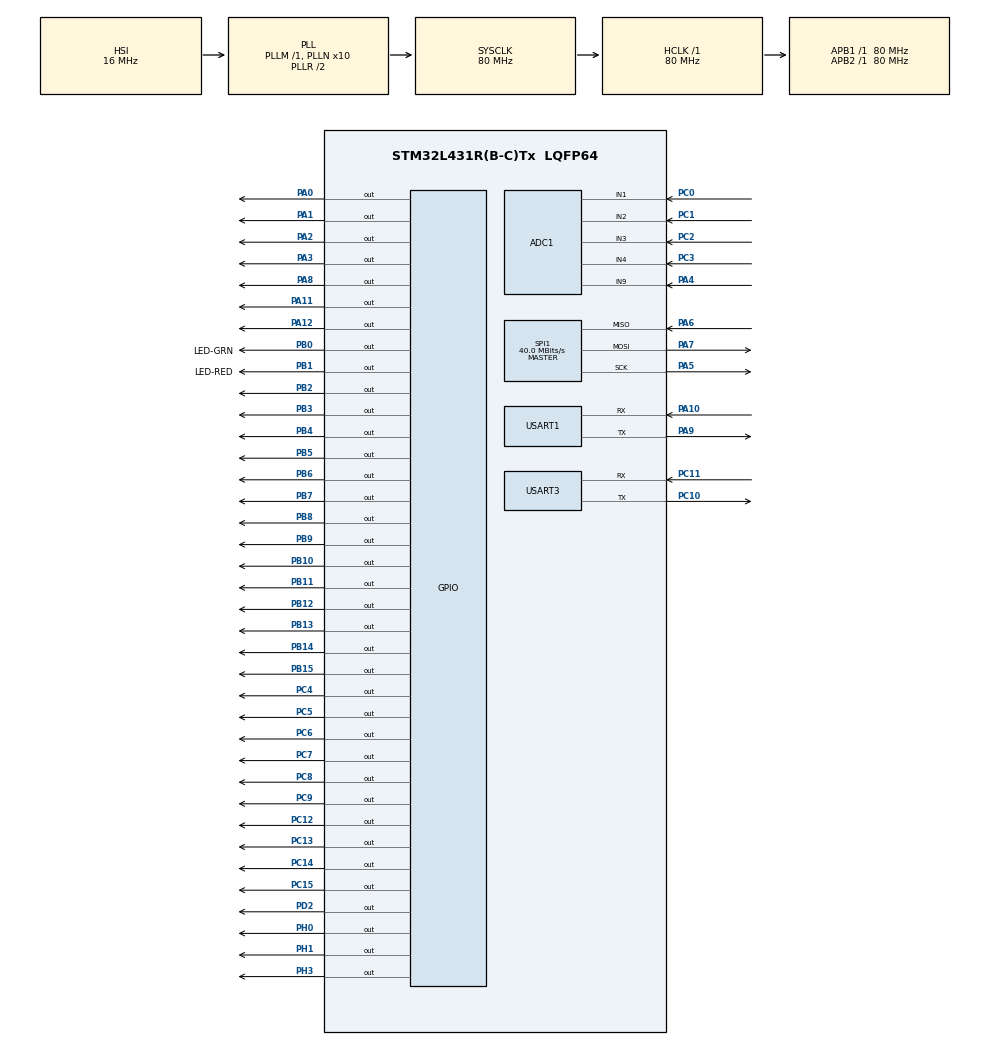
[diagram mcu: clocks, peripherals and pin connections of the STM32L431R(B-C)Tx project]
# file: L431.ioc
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ADC1.Channel-0\#ChannelRegularConversion=ADC_CHANNEL_1
ADC1.Channel-1\#ChannelRegularConversion=ADC_CHANNEL_2
ADC1.Channel-2\#ChannelRegularConversion=ADC_CHANNEL_3
ADC1.Channel-3\#ChannelRegularConversion=ADC_CHANNEL_4
ADC1.Channel-4\#ChannelRegularConversion=ADC_CHANNEL_9
ADC1.Channel-5\#ChannelRegularConversion=ADC_CHANNEL_VREFINT
ADC1.Channel-6\#ChannelRegularConversion=ADC_CHANNEL_TEMPSENSOR
ADC1.ContinuousConvMode=ENABLE
ADC1.DMAContinuousRequests=ENABLE
ADC1.NbrOfConversion=7
ADC1.NbrOfConversionFlag=1
ADC1.OffsetNumber-0\#ChannelRegularConversion=ADC_OFFSET_NONE
ADC1.OffsetNumber-1\#ChannelRegularConversion=ADC_OFFSET_NONE
ADC1.OffsetNumber-2\#ChannelRegularConversion=ADC_OFFSET_NONE
ADC1.OffsetNumber-3\#ChannelRegularConversion=ADC_OFFSET_NONE
ADC1.OffsetNumber-4\#ChannelRegularConversion=ADC_OFFSET_NONE
ADC1.OffsetNumber-5\#ChannelRegularConversion=ADC_OFFSET_NONE
ADC1.OffsetNumber-6\#ChannelRegularConversion=ADC_OFFSET_NONE
ADC1.Rank-0\#ChannelRegularConversion=1
ADC1.Rank-1\#ChannelRegularConversion=2
ADC1.Rank-2\#ChannelRegularConversion=3
ADC1.Rank-3\#ChannelRegularConversion=4
ADC1.Rank-4\#ChannelRegularConversion=5
ADC1.Rank-5\#ChannelRegularConversion=6
ADC1.Rank-6\#ChannelRegularConversion=7
ADC1.SamplingTime-0\#ChannelRegularConversion=ADC_SAMPLETIME_47CYCLES_5
ADC1.SamplingTime-1\#ChannelRegularConversion=ADC_SAMPLETIME_47CYCLES_5
ADC1.SamplingTime-2\#ChannelRegularConversion=ADC_SAMPLETIME_47CYCLES_5
ADC1.SamplingTime-3\#ChannelRegularConversion=ADC_SAMPLETIME_47CYCLES_5
ADC1.SamplingTime-4\#ChannelRegularConversion=ADC_SAMPLETIME_47CYCLES_5
ADC1.SamplingTime-5\#ChannelRegularConversion=ADC_SAMPLETIME_247CYCLES_5
ADC1.SamplingTime-6\#ChannelRegularConversion=ADC_SAMPLETIME_247CYCLES_5
ADC1.master=1
Dma.ADC1.4.Direction=DMA_PERIPH_TO_MEMORY
Dma.ADC1.4.Instance=DMA1_Channel1
Dma.ADC1.4.MemDataAlignment=DMA_MDATAALIGN_HALFWORD
Dma.ADC1.4.MemInc=DMA_MINC_ENABLE
Dma.ADC1.4.Mode=DMA_NORMAL
Dma.ADC1.4.PeriphDataAlignment=DMA_PDATAALIGN_HALFWORD
Dma.ADC1.4.PeriphInc=DMA_PINC_DISABLE
Dma.ADC1.4.Priority=DMA_PRIORITY_LOW
Dma.Request0=USART1_RX
Dma.Request1=USART1_TX
Dma.Request2=USART3_RX
Dma.Request3=USART3_TX
Dma.Request4=ADC1
Dma.USART1_RX.0.Direction=DMA_PERIPH_TO_MEMORY
Dma.USART1_RX.0.Instance=DMA1_Channel5
Dma.USART1_RX.0.MemDataAlignment=DMA_MDATAALIGN_BYTE
Dma.USART1_RX.0.MemInc=DMA_MINC_ENABLE
Dma.USART1_RX.0.Mode=DMA_NORMAL
Dma.USART1_RX.0.PeriphDataAlignment=DMA_PDATAALIGN_BYTE
Dma.USART1_RX.0.PeriphInc=DMA_PINC_DISABLE
Dma.USART1_RX.0.Priority=DMA_PRIORITY_LOW
Dma.USART1_TX.1.Direction=DMA_MEMORY_TO_PERIPH
Dma.USART1_TX.1.Instance=DMA1_Channel4
Dma.USART1_TX.1.MemDataAlignment=DMA_MDATAALIGN_BYTE
Dma.USART1_TX.1.MemInc=DMA_MINC_ENABLE
Dma.USART1_TX.1.Mode=DMA_NORMAL
Dma.USART1_TX.1.PeriphDataAlignment=DMA_PDATAALIGN_BYTE
Dma.USART1_TX.1.PeriphInc=DMA_PINC_DISABLE
Dma.USART1_TX.1.Priority=DMA_PRIORITY_LOW
Dma.USART3_RX.2.Direction=DMA_PERIPH_TO_MEMORY
Dma.USART3_RX.2.Instance=DMA1_Channel3
Dma.USART3_RX.2.MemDataAlignment=DMA_MDATAALIGN_BYTE
Dma.USART3_RX.2.MemInc=DMA_MINC_ENABLE
Dma.USART3_RX.2.Mode=DMA_NORMAL
Dma.USART3_RX.2.PeriphDataAlignment=DMA_PDATAALIGN_BYTE
Dma.USART3_RX.2.PeriphInc=DMA_PINC_DISABLE
Dma.USART3_RX.2.Priority=DMA_PRIORITY_LOW
Dma.USART3_TX.3.Direction=DMA_MEMORY_TO_PERIPH
Dma.USART3_TX.3.Instance=DMA1_Channel2
Dma.USART3_TX.3.MemDataAlignment=DMA_MDATAALIGN_BYTE
Dma.USART3_TX.3.MemInc=DMA_MINC_ENABLE
Dma.USART3_TX.3.Mode=DMA_NORMAL
Dma.USART3_TX.3.PeriphDataAlignment=DMA_PDATAALIGN_BYTE
Dma.USART3_TX.3.PeriphInc=DMA_PINC_DISABLE
Dma.USART3_TX.3.Priority=DMA_PRIORITY_LOW
FREERTOS.Tasks01=defaultTask,0,128,StartDefaultTask,Default,NULL,Dynamic,NULL,NULL
FREERTOS.configTOTAL_HEAP_SIZE=8000
Mcu.Family=STM32L4
Mcu.Name=STM32L431R(B-C)Tx
Mcu.Package=LQFP64
NVIC.DMA1_Channel1_IRQn=true\:5\:0\:false\:false\:true\:true\:false\:true
NVIC.DMA1_Channel2_IRQn=true\:5\:0\:false\:false\:true\:true\:false\:true
NVIC.DMA1_Channel3_IRQn=true\:5\:0\:false\:false\:true\:true\:false\:true
NVIC.DMA1_Channel4_IRQn=true\:5\:0\:false\:false\:true\:true\:false\:true
NVIC.DMA1_Channel5_IRQn=true\:5\:0\:false\:false\:true\:true\:false\:true
NVIC.PriorityGroup=NVIC_PRIORITYGROUP_4
NVIC.TIM1_UP_TIM16_IRQn=true\:15\:0\:false\:false\:true\:false\:false\:true
NVIC.TimeBase=TIM1_UP_TIM16_IRQn
NVIC.TimeBaseIP=TIM16
NVIC.USART1_IRQn=true\:5\:0\:false\:false\:true\:true\:true\:true
NVIC.USART3_IRQn=true\:5\:0\:false\:false\:true\:true\:true\:true
PA0.Signal=GPIO_Output
PA1.Signal=GPIO_Output
PA10.Mode=Asynchronous
PA10.Signal=USART1_RX
PA11.Signal=GPIO_Output
PA12.Signal=GPIO_Output
PA13\ (JTMS-SWDIO).Mode=Serial_Wire
PA13\ (JTMS-SWDIO).Signal=SYS_JTMS-SWDIO
PA14\ (JTCK-SWCLK).Mode=Serial_Wire
PA14\ (JTCK-SWCLK).Signal=SYS_JTCK-SWCLK
PA2.Signal=GPIO_Output
PA3.Signal=GPIO_Output
PA4.Signal=ADCx_IN9
PA5.Mode=Full_Duplex_Master
PA5.Signal=SPI1_SCK
PA6.Mode=Full_Duplex_Master
PA6.Signal=SPI1_MISO
PA7.Mode=Full_Duplex_Master
PA7.Signal=SPI1_MOSI
PA8.Signal=GPIO_Output
PA9.Mode=Asynchronous
PA9.Signal=USART1_TX
PB0.GPIO_Label=LED-GRN
PB0.GPIO_ModeDefaultOutputPP=GPIO_MODE_OUTPUT_OD
PB0.PinState=GPIO_PIN_SET
PB0.Signal=GPIO_Output
PB1.GPIO_Label=LED-RED
PB1.GPIO_ModeDefaultOutputPP=GPIO_MODE_OUTPUT_OD
PB1.PinState=GPIO_PIN_SET
PB1.Signal=GPIO_Output
PB10.Signal=GPIO_Output
PB11.Signal=GPIO_Output
PB12.Signal=GPIO_Output
PB13.Signal=GPIO_Output
PB14.Signal=GPIO_Output
PB15.Signal=GPIO_Output
PB2.Signal=GPIO_Output
PB3\ (JTDO-TRACESWO).Signal=GPIO_Output
PB4\ (NJTRST).Signal=GPIO_Output
PB5.Signal=GPIO_Output
PB6.Signal=GPIO_Output
PB7.Signal=GPIO_Output
PB8.Signal=GPIO_Output
PB9.Signal=GPIO_Output
PC0.Signal=ADCx_IN1
PC1.Signal=ADCx_IN2
PC10.Mode=Asynchronous
PC10.Signal=USART3_TX
PC11.Mode=Asynchronous
PC11.Signal=USART3_RX
PC12.Signal=GPIO_Output
PC13.Signal=GPIO_Output
PC14-OSC32_IN\ (PC14).Signal=GPIO_Output
PC15-OSC32_OUT\ (PC15).Signal=GPIO_Output
PC2.Signal=ADCx_IN3
PC3.Signal=ADCx_IN4
PC4.Signal=GPIO_Output
PC5.Signal=GPIO_Output
PC6.Signal=GPIO_Output
PC7.Signal=GPIO_Output
PC8.Signal=GPIO_Output
PC9.Signal=GPIO_Output
PD2.Signal=GPIO_Output
PH0-OSC_IN\ (PH0).Signal=GPIO_Output
PH1-OSC_OUT\ (PH1).Signal=GPIO_Output
PH3-BOOT0.Signal=GPIO_Output
ProjectManager.HeapSize=0x200
ProjectManager.StackSize=0x400
ProjectManager.TargetToolchain=Makefile
RCC.ADCFreq_Value=16000000
RCC.AHBFreq_Value=80000000
RCC.APB1Freq_Value=80000000
RCC.APB1TimFreq_Value=80000000
RCC.APB2Freq_Value=80000000
RCC.APB2TimFreq_Value=80000000
RCC.CortexFreq_Value=80000000
RCC.HCLKFreq_Value=80000000
RCC.HSE_VALUE=8000000
RCC.HSI48_VALUE=48000000
RCC.HSI_VALUE=16000000
RCC.LSE_VALUE=32768
RCC.MSI_VALUE=4000000
RCC.PLLN=10
RCC.PLLSAI1R=RCC_PLLR_DIV8
RCC.PLLSourceVirtual=RCC_PLLSOURCE_HSI
RCC.SYSCLKFreq_VALUE=80000000
RCC.SYSCLKSource=RCC_SYSCLKSOURCE_PLLCLK
RCC.VCOOutputFreq_Value=160000000
SH.ADCx_IN1.0=ADC1_IN1,IN1-Single-Ended
SH.ADCx_IN2.0=ADC1_IN2,IN2-Single-Ended
SH.ADCx_IN3.0=ADC1_IN3,IN3-Single-Ended
SH.ADCx_IN4.0=ADC1_IN4,IN4-Single-Ended
SH.ADCx_IN9.0=ADC1_IN9,IN9-Single-Ended
SPI1.CalculateBaudRate=40.0 MBits/s
SPI1.Direction=SPI_DIRECTION_2LINES
SPI1.Mode=SPI_MODE_MASTER
SPI1.VirtualType=VM_MASTER
USART1.VirtualMode-Asynchronous=VM_ASYNC
USART3.VirtualMode-Asynchronous=VM_ASYNC
VP_ADC1_TempSens_Input.Mode=IN-TempSens
VP_ADC1_Vref_Input.Mode=IN-Vrefint
VP_FREERTOS_VS_CMSIS_V1.Mode=CMSIS_V1
VP_SYS_VS_tim16.Mode=TIM16
board=custom

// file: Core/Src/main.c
/* USER CODE BEGIN Header */
/**
  ******************************************************************************
  * @file           : main.c
  * @brief          : Main program body
  ******************************************************************************
  * @attention
  *
  * <h2><center>&copy; Copyright (c) 2023 STMicroelectronics.
  * All rights reserved.</center></h2>
  *
  * This software component is licensed by ST under BSD 3-Clause license,
  * the "License"; You may not use this file except in compliance with the
  * License. You may obtain a copy of the License at:
  *                        opensource.org/licenses/BSD-3-Clause
  *
  ******************************************************************************
  */
/* USER CODE END Header */
#include "main.h"
#include "cmsis_os.h"

/* USER CODE BEGIN Includes */
#include <string.h>
#include "morse.h"
#include "DTW_counter.h"

#include "adcparams.h"
#include "SerialTaskSend.h"
#include "SerialTaskReceive.h"
#include "CanTask.h"
#include "can_iface.h"
#include "canfilter_setup.h"
#include "getserialbuf.h"
#include "yprintf.h"
#include "DTW_counter.h"
#include "ADCTask.h"
#include "MailboxTask.h"
#include "CanCommTask.h"
//#include "BMSTask.h"
#include "rtcregs.h"

#include "FreeRTOS.h"
#include "semphr.h"
/* USER CODE END Includes */

ADC_HandleTypeDef hadc1;
DMA_HandleTypeDef hdma_adc1;

SPI_HandleTypeDef hspi1;

UART_HandleTypeDef huart1;
UART_HandleTypeDef huart3;
DMA_HandleTypeDef hdma_usart1_rx;
DMA_HandleTypeDef hdma_usart1_tx;
DMA_HandleTypeDef hdma_usart3_rx;
DMA_HandleTypeDef hdma_usart3_tx;

osThreadId defaultTaskHandle;

void SystemClock_Config(void);
static void MX_GPIO_Init(void);
static void MX_DMA_Init(void);
static void MX_USART1_UART_Init(void);
static void MX_USART3_UART_Init(void);
static void MX_ADC1_Init(void);
static void MX_SPI1_Init(void);
void StartDefaultTask(void const * argument);

int main(void)
{
  /* USER CODE BEGIN 1 */
  BaseType_t ret;    // Used for returns from function calls
  osThreadId Thrdret;  // Return from thread create
  /* USER CODE END 1 */

  /* MCU Configuration--------------------------------------------------------*/

  /* Reset of all peripherals, Initializes the Flash interface and the Systick. */
  HAL_Init();

  /* USER CODE BEGIN Init */
  DTW_counter_init();
  /* USER CODE END Init */

  /* Configure the system clock */
  SystemClock_Config();

  /* Initialize all configured peripherals */
  MX_GPIO_Init();
  MX_DMA_Init();
  MX_USART1_UART_Init();
  MX_USART3_UART_Init();
  MX_ADC1_Init();
  MX_SPI1_Init();

  /* USER CODE BEGIN RTOS_SEMAPHORES */
  /* add semaphores, ... */
  yprintf_init();
  /* USER CODE END RTOS_SEMAPHORES */

  /* Create the thread(s) */
  /* definition and creation of defaultTask */
  osThreadDef(defaultTask, StartDefaultTask, osPriorityNormal, 0, 128);
  defaultTaskHandle = osThreadCreate(osThread(defaultTask), NULL);

  /* USER CODE BEGIN RTOS_THREADS */
  /* add threads, ... */
Thrdret = xADCTaskCreate(osPriorityNormal+2); // (arg) = priority
  if (Thrdret == NULL) morse_trap(117);

  /* Create serial task (priority) */
  // Task handle "osThreadId SerialTaskHandle" is global
  Thrdret = xSerialTaskSendCreate(osPriorityNormal); // Create task and set Task priority
  if (Thrdret == NULL) morse_trap(112);

    /* Add bcb circular buffer to SerialTaskSend for usart3 -- PC monitor */
  #define NUMCIRBCB3  16 // Size of circular buffer of BCB for usart3
  ret = xSerialTaskSendAdd(&HUARTMON, NUMCIRBCB3, 1); // dma
  if (ret < 0) morse_trap(14); // Panic LED flashing

  /* USER CODE END RTOS_THREADS */

  /* Start scheduler */
  osKernelStart();

  /* We should never get here as control is now taken by the scheduler */
  /* Infinite loop */
  while (1)
  {

  }
}

void SystemClock_Config(void)
{
  RCC_OscInitTypeDef RCC_OscInitStruct = {0};
  RCC_ClkInitTypeDef RCC_ClkInitStruct = {0};

  /** Configure the main internal regulator output voltage
  */
  if (HAL_PWREx_ControlVoltageScaling(PWR_REGULATOR_VOLTAGE_SCALE1) != HAL_OK)
  {
    Error_Handler();
  }
  /** Initializes the RCC Oscillators according to the specified parameters
  * in the RCC_OscInitTypeDef structure.
  */
  RCC_OscInitStruct.OscillatorType = RCC_OSCILLATORTYPE_HSI;
  RCC_OscInitStruct.HSIState = RCC_HSI_ON;
  RCC_OscInitStruct.HSICalibrationValue = RCC_HSICALIBRATION_DEFAULT;
  RCC_OscInitStruct.PLL.PLLState = RCC_PLL_ON;
  RCC_OscInitStruct.PLL.PLLSource = RCC_PLLSOURCE_HSI;
  RCC_OscInitStruct.PLL.PLLM = 1;
  RCC_OscInitStruct.PLL.PLLN = 10;
  RCC_OscInitStruct.PLL.PLLP = RCC_PLLP_DIV7;
  RCC_OscInitStruct.PLL.PLLQ = RCC_PLLQ_DIV2;
  RCC_OscInitStruct.PLL.PLLR = RCC_PLLR_DIV2;
  if (HAL_RCC_OscConfig(&RCC_OscInitStruct) != HAL_OK)
  {
    Error_Handler();
  }
  /** Initializes the CPU, AHB and APB buses clocks
  */
  RCC_ClkInitStruct.ClockType = RCC_CLOCKTYPE_HCLK|RCC_CLOCKTYPE_SYSCLK
                              |RCC_CLOCKTYPE_PCLK1|RCC_CLOCKTYPE_PCLK2;
  RCC_ClkInitStruct.SYSCLKSource = RCC_SYSCLKSOURCE_PLLCLK;
  RCC_ClkInitStruct.AHBCLKDivider = RCC_SYSCLK_DIV1;
  RCC_ClkInitStruct.APB1CLKDivider = RCC_HCLK_DIV1;
  RCC_ClkInitStruct.APB2CLKDivider = RCC_HCLK_DIV1;

  if (HAL_RCC_ClockConfig(&RCC_ClkInitStruct, FLASH_LATENCY_4) != HAL_OK)
  {
    Error_Handler();
  }
}

static void MX_ADC1_Init(void)
{

  ADC_ChannelConfTypeDef sConfig = {0};

  /** Common config
  */
  hadc1.Instance = ADC1;
  hadc1.Init.ClockPrescaler = ADC_CLOCK_ASYNC_DIV1;
  hadc1.Init.Resolution = ADC_RESOLUTION_12B;
  hadc1.Init.DataAlign = ADC_DATAALIGN_RIGHT;
  hadc1.Init.ScanConvMode = ADC_SCAN_ENABLE;
  hadc1.Init.EOCSelection = ADC_EOC_SINGLE_CONV;
  hadc1.Init.LowPowerAutoWait = DISABLE;
  hadc1.Init.ContinuousConvMode = ENABLE;
  hadc1.Init.NbrOfConversion = 7;
  hadc1.Init.DiscontinuousConvMode = DISABLE;
  hadc1.Init.ExternalTrigConv = ADC_SOFTWARE_START;
  hadc1.Init.ExternalTrigConvEdge = ADC_EXTERNALTRIGCONVEDGE_NONE;
  hadc1.Init.DMAContinuousRequests = ENABLE;
  hadc1.Init.Overrun = ADC_OVR_DATA_PRESERVED;
  hadc1.Init.OversamplingMode = DISABLE;
  if (HAL_ADC_Init(&hadc1) != HAL_OK)
  {
    Error_Handler();
  }
  /** Configure Regular Channel
  */
  sConfig.Channel = ADC_CHANNEL_1;
  sConfig.Rank = ADC_REGULAR_RANK_1;
  sConfig.SamplingTime = ADC_SAMPLETIME_47CYCLES_5;
  sConfig.SingleDiff = ADC_SINGLE_ENDED;
  sConfig.OffsetNumber = ADC_OFFSET_NONE;
  sConfig.Offset = 0;
  if (HAL_ADC_ConfigChannel(&hadc1, &sConfig) != HAL_OK)
  {
    Error_Handler();
  }
  /** Configure Regular Channel
  */
  sConfig.Channel = ADC_CHANNEL_2;
  sConfig.Rank = ADC_REGULAR_RANK_2;
  if (HAL_ADC_ConfigChannel(&hadc1, &sConfig) != HAL_OK)
  {
    Error_Handler();
  }
  /** Configure Regular Channel
  */
  sConfig.Channel = ADC_CHANNEL_3;
  sConfig.Rank = ADC_REGULAR_RANK_3;
  if (HAL_ADC_ConfigChannel(&hadc1, &sConfig) != HAL_OK)
  {
    Error_Handler();
  }
  /** Configure Regular Channel
  */
  sConfig.Channel = ADC_CHANNEL_4;
  sConfig.Rank = ADC_REGULAR_RANK_4;
  if (HAL_ADC_ConfigChannel(&hadc1, &sConfig) != HAL_OK)
  {
    Error_Handler();
  }
  /** Configure Regular Channel
  */
  sConfig.Channel = ADC_CHANNEL_9;
  sConfig.Rank = ADC_REGULAR_RANK_5;
  if (HAL_ADC_ConfigChannel(&hadc1, &sConfig) != HAL_OK)
  {
    Error_Handler();
  }
  /** Configure Regular Channel
  */
  sConfig.Channel = ADC_CHANNEL_VREFINT;
  sConfig.Rank = ADC_REGULAR_RANK_6;
  sConfig.SamplingTime = ADC_SAMPLETIME_247CYCLES_5;
  if (HAL_ADC_ConfigChannel(&hadc1, &sConfig) != HAL_OK)
  {
    Error_Handler();
  }
  /** Configure Regular Channel
  */
  sConfig.Channel = ADC_CHANNEL_TEMPSENSOR;
  sConfig.Rank = ADC_REGULAR_RANK_7;
  if (HAL_ADC_ConfigChannel(&hadc1, &sConfig) != HAL_OK)
  {
    Error_Handler();
  }

}

static void MX_SPI1_Init(void)
{

  /* SPI1 parameter configuration*/
  hspi1.Instance = SPI1;
  hspi1.Init.Mode = SPI_MODE_MASTER;
  hspi1.Init.Direction = SPI_DIRECTION_2LINES;
  hspi1.Init.DataSize = SPI_DATASIZE_4BIT;
  hspi1.Init.CLKPolarity = SPI_POLARITY_LOW;
  hspi1.Init.CLKPhase = SPI_PHASE_1EDGE;
  hspi1.Init.NSS = SPI_NSS_SOFT;
  hspi1.Init.BaudRatePrescaler = SPI_BAUDRATEPRESCALER_2;
  hspi1.Init.FirstBit = SPI_FIRSTBIT_MSB;
  hspi1.Init.TIMode = SPI_TIMODE_DISABLE;
  hspi1.Init.CRCCalculation = SPI_CRCCALCULATION_DISABLE;
  hspi1.Init.CRCPolynomial = 7;
  hspi1.Init.CRCLength = SPI_CRC_LENGTH_DATASIZE;
  hspi1.Init.NSSPMode = SPI_NSS_PULSE_ENABLE;
  if (HAL_SPI_Init(&hspi1) != HAL_OK)
  {
    Error_Handler();
  }

}

static void MX_USART1_UART_Init(void)
{

  huart1.Instance = USART1;
  huart1.Init.BaudRate = 115200;
  huart1.Init.WordLength = UART_WORDLENGTH_8B;
  huart1.Init.StopBits = UART_STOPBITS_1;
  huart1.Init.Parity = UART_PARITY_NONE;
  huart1.Init.Mode = UART_MODE_TX_RX;
  huart1.Init.HwFlowCtl = UART_HWCONTROL_NONE;
  huart1.Init.OverSampling = UART_OVERSAMPLING_16;
  huart1.Init.OneBitSampling = UART_ONE_BIT_SAMPLE_DISABLE;
  huart1.AdvancedInit.AdvFeatureInit = UART_ADVFEATURE_NO_INIT;
  if (HAL_UART_Init(&huart1) != HAL_OK)
  {
    Error_Handler();
  }

}

static void MX_USART3_UART_Init(void)
{

  huart3.Instance = USART3;
  huart3.Init.BaudRate = 115200;
  huart3.Init.WordLength = UART_WORDLENGTH_8B;
  huart3.Init.StopBits = UART_STOPBITS_1;
  huart3.Init.Parity = UART_PARITY_NONE;
  huart3.Init.Mode = UART_MODE_TX_RX;
  huart3.Init.HwFlowCtl = UART_HWCONTROL_NONE;
  huart3.Init.OverSampling = UART_OVERSAMPLING_16;
  huart3.Init.OneBitSampling = UART_ONE_BIT_SAMPLE_DISABLE;
  huart3.AdvancedInit.AdvFeatureInit = UART_ADVFEATURE_NO_INIT;
  if (HAL_UART_Init(&huart3) != HAL_OK)
  {
    Error_Handler();
  }

}

static void MX_DMA_Init(void)
{

  /* DMA controller clock enable */
  __HAL_RCC_DMA1_CLK_ENABLE();

  /* DMA interrupt init */
  /* DMA1_Channel1_IRQn interrupt configuration */
  HAL_NVIC_SetPriority(DMA1_Channel1_IRQn, 5, 0);
  HAL_NVIC_EnableIRQ(DMA1_Channel1_IRQn);
  /* DMA1_Channel2_IRQn interrupt configuration */
  HAL_NVIC_SetPriority(DMA1_Channel2_IRQn, 5, 0);
  HAL_NVIC_EnableIRQ(DMA1_Channel2_IRQn);
  /* DMA1_Channel3_IRQn interrupt configuration */
  HAL_NVIC_SetPriority(DMA1_Channel3_IRQn, 5, 0);
  HAL_NVIC_EnableIRQ(DMA1_Channel3_IRQn);
  /* DMA1_Channel4_IRQn interrupt configuration */
  HAL_NVIC_SetPriority(DMA1_Channel4_IRQn, 5, 0);
  HAL_NVIC_EnableIRQ(DMA1_Channel4_IRQn);
  /* DMA1_Channel5_IRQn interrupt configuration */
  HAL_NVIC_SetPriority(DMA1_Channel5_IRQn, 5, 0);
  HAL_NVIC_EnableIRQ(DMA1_Channel5_IRQn);

}

static void MX_GPIO_Init(void)
{
  GPIO_InitTypeDef GPIO_InitStruct = {0};

  /* GPIO Ports Clock Enable */
  __HAL_RCC_GPIOC_CLK_ENABLE();
  __HAL_RCC_GPIOH_CLK_ENABLE();
  __HAL_RCC_GPIOA_CLK_ENABLE();
  __HAL_RCC_GPIOB_CLK_ENABLE();
  __HAL_RCC_GPIOD_CLK_ENABLE();

  /*Configure GPIO pin Output Level */
  HAL_GPIO_WritePin(GPIOC, GPIO_PIN_13|GPIO_PIN_14|GPIO_PIN_15|GPIO_PIN_4
                          |GPIO_PIN_5|GPIO_PIN_6|GPIO_PIN_7|GPIO_PIN_8
                          |GPIO_PIN_9|GPIO_PIN_12, GPIO_PIN_RESET);

  /*Configure GPIO pin Output Level */
  HAL_GPIO_WritePin(GPIOH, GPIO_PIN_0|GPIO_PIN_1|GPIO_PIN_3, GPIO_PIN_RESET);

  /*Configure GPIO pin Output Level */
  HAL_GPIO_WritePin(GPIOA, GPIO_PIN_0|GPIO_PIN_1|GPIO_PIN_2|GPIO_PIN_3
                          |GPIO_PIN_8|GPIO_PIN_11|GPIO_PIN_12, GPIO_PIN_RESET);

  /*Configure GPIO pin Output Level */
  HAL_GPIO_WritePin(GPIOB, LED_GRN_Pin|LED_RED_Pin, GPIO_PIN_SET);

  /*Configure GPIO pin Output Level */
  HAL_GPIO_WritePin(GPIOB, GPIO_PIN_2|GPIO_PIN_10|GPIO_PIN_11|GPIO_PIN_12
                          |GPIO_PIN_13|GPIO_PIN_14|GPIO_PIN_15|GPIO_PIN_3
                          |GPIO_PIN_4|GPIO_PIN_5|GPIO_PIN_6|GPIO_PIN_7
                          |GPIO_PIN_8|GPIO_PIN_9, GPIO_PIN_RESET);

  /*Configure GPIO pin Output Level */
  HAL_GPIO_WritePin(GPIOD, GPIO_PIN_2, GPIO_PIN_RESET);

  /*Configure GPIO pins : PC13 PC14 PC15 PC4
                           PC5 PC6 PC7 PC8
                           PC9 PC12 */
  GPIO_InitStruct.Pin = GPIO_PIN_13|GPIO_PIN_14|GPIO_PIN_15|GPIO_PIN_4
                          |GPIO_PIN_5|GPIO_PIN_6|GPIO_PIN_7|GPIO_PIN_8
                          |GPIO_PIN_9|GPIO_PIN_12;
  GPIO_InitStruct.Mode = GPIO_MODE_OUTPUT_PP;
  GPIO_InitStruct.Pull = GPIO_NOPULL;
  GPIO_InitStruct.Speed = GPIO_SPEED_FREQ_LOW;
  HAL_GPIO_Init(GPIOC, &GPIO_InitStruct);

  /*Configure GPIO pins : PH0 PH1 PH3 */
  GPIO_InitStruct.Pin = GPIO_PIN_0|GPIO_PIN_1|GPIO_PIN_3;
  GPIO_InitStruct.Mode = GPIO_MODE_OUTPUT_PP;
  GPIO_InitStruct.Pull = GPIO_NOPULL;
  GPIO_InitStruct.Speed = GPIO_SPEED_FREQ_LOW;
  HAL_GPIO_Init(GPIOH, &GPIO_InitStruct);

  /*Configure GPIO pins : PA0 PA1 PA2 PA3
                           PA8 PA11 PA12 */
  GPIO_InitStruct.Pin = GPIO_PIN_0|GPIO_PIN_1|GPIO_PIN_2|GPIO_PIN_3
                          |GPIO_PIN_8|GPIO_PIN_11|GPIO_PIN_12;
  GPIO_InitStruct.Mode = GPIO_MODE_OUTPUT_PP;
  GPIO_InitStruct.Pull = GPIO_NOPULL;
  GPIO_InitStruct.Speed = GPIO_SPEED_FREQ_LOW;
  HAL_GPIO_Init(GPIOA, &GPIO_InitStruct);

  /*Configure GPIO pins : LED_GRN_Pin LED_RED_Pin */
  GPIO_InitStruct.Pin = LED_GRN_Pin|LED_RED_Pin;
  GPIO_InitStruct.Mode = GPIO_MODE_OUTPUT_OD;
  GPIO_InitStruct.Pull = GPIO_NOPULL;
  GPIO_InitStruct.Speed = GPIO_SPEED_FREQ_LOW;
  HAL_GPIO_Init(GPIOB, &GPIO_InitStruct);

  /*Configure GPIO pins : PB2 PB10 PB11 PB12
                           PB13 PB14 PB15 PB3
                           PB4 PB5 PB6 PB7
                           PB8 PB9 */
  GPIO_InitStruct.Pin = GPIO_PIN_2|GPIO_PIN_10|GPIO_PIN_11|GPIO_PIN_12
                          |GPIO_PIN_13|GPIO_PIN_14|GPIO_PIN_15|GPIO_PIN_3
                          |GPIO_PIN_4|GPIO_PIN_5|GPIO_PIN_6|GPIO_PIN_7
                          |GPIO_PIN_8|GPIO_PIN_9;
  GPIO_InitStruct.Mode = GPIO_MODE_OUTPUT_PP;
  GPIO_InitStruct.Pull = GPIO_NOPULL;
  GPIO_InitStruct.Speed = GPIO_SPEED_FREQ_LOW;
  HAL_GPIO_Init(GPIOB, &GPIO_InitStruct);

  /*Configure GPIO pin : PD2 */
  GPIO_InitStruct.Pin = GPIO_PIN_2;
  GPIO_InitStruct.Mode = GPIO_MODE_OUTPUT_PP;
  GPIO_InitStruct.Pull = GPIO_NOPULL;
  GPIO_InitStruct.Speed = GPIO_SPEED_FREQ_LOW;
  HAL_GPIO_Init(GPIOD, &GPIO_InitStruct);

}

void StartDefaultTask(void const * argument)
{
  /* USER CODE BEGIN 5 */
  struct SERIALSENDTASKBCB* pbuf1 = getserialbuf(&HUARTMON,144);
  if (pbuf1 == NULL) morse_trap(115);

  uint32_t ctr = 1;
  yprintf(&pbuf1,"\n\n\rPROGRAM STARTS %d",ctr);

  /* Infinite loop */
  for(;;)
  {
yprintf(&pbuf1,"\n\rADC %d", ctr++);
    osDelay(1900);
    HAL_GPIO_WritePin(GPIOB,GPIO_PIN_0, GPIO_PIN_RESET);
    osDelay(100);
    HAL_GPIO_WritePin(GPIOB,GPIO_PIN_0, GPIO_PIN_SET);

extern uint32_t  debugADCt2;
    yprintf(&pbuf1," %6d %d",debugADCt2,debugADCt2/80);

  }
  /* USER CODE END 5 */
}

void HAL_TIM_PeriodElapsedCallback(TIM_HandleTypeDef *htim)
{
  if (htim->Instance == TIM16) {
    HAL_IncTick();
  }
}

void Error_Handler(void)
{
  __disable_irq();
  while (1)
  {
  }
}

/************************ (C) COPYRIGHT STMicroelectronics *****END OF FILE****/
